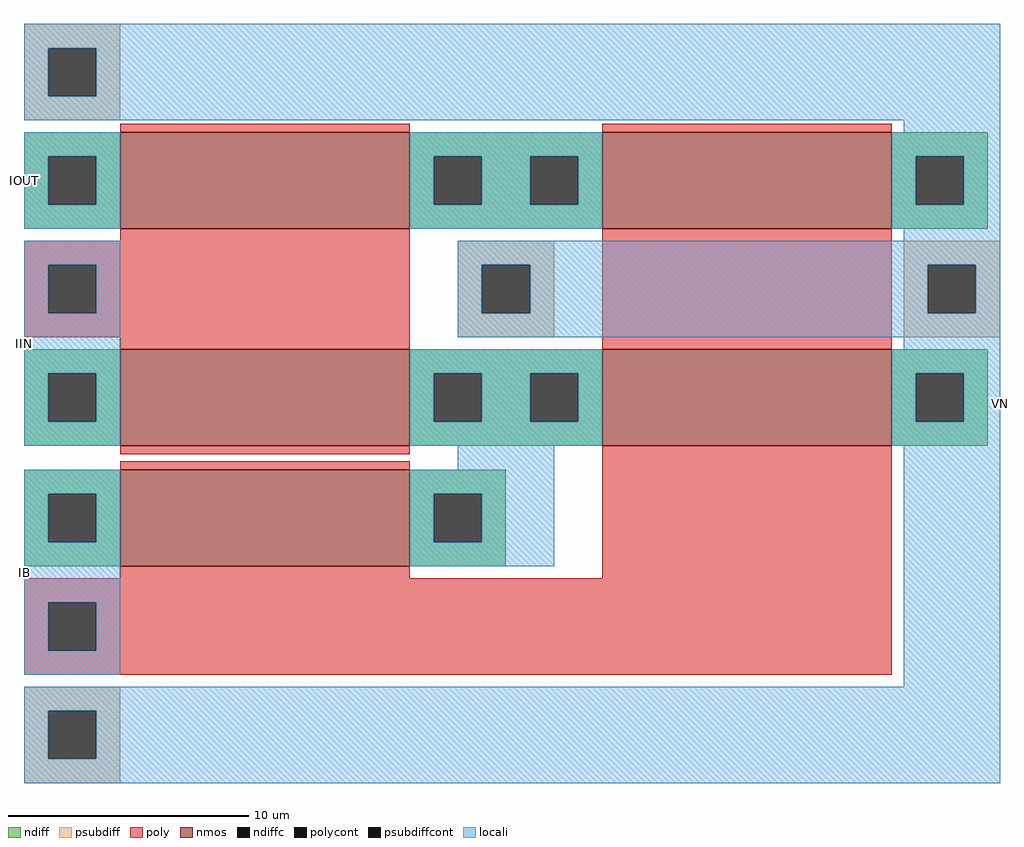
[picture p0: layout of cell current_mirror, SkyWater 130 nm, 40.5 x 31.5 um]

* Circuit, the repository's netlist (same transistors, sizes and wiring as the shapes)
* SPICE3 file created from current_mirror.ext - technology: sky130A

X0 VN IB a_35500_32800# VN sky130_fd_pr__nfet_01v8 ad=16 pd=16 as=16 ps=12 w=4 l=12
X1 a_35500_32800# IIN IOUT VN sky130_fd_pr__nfet_01v8 ad=16 pd=12 as=16 ps=16 w=4 l=12
X2 VN IB a_35500_30000# VN sky130_fd_pr__nfet_01v8 ad=16 pd=16 as=16 ps=12 w=4 l=12
X3 a_35500_30000# IIN IIN VN sky130_fd_pr__nfet_01v8 ad=16 pd=12 as=16 ps=16 w=4 l=12
X4 a_35500_30000# IB IB VN sky130_fd_pr__nfet_01v8 ad=16 pd=16 as=16 ps=16 w=4 l=12

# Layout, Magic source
magic
tech sky130A
<< nmos >>
rect 16550 16400 17750 16800
rect 18550 16400 19750 16800
rect 16550 15500 17750 15900
rect 18550 15500 19750 15900
rect 16550 15000 17750 15400
<< ndiff >>
rect 16150 16700 16550 16800
rect 16150 16500 16250 16700
rect 16450 16500 16550 16700
rect 16150 16400 16550 16500
rect 17750 16700 18550 16800
rect 17750 16500 17850 16700
rect 18050 16500 18250 16700
rect 18450 16500 18550 16700
rect 17750 16400 18550 16500
rect 19750 16700 20150 16800
rect 19750 16500 19850 16700
rect 20050 16500 20150 16700
rect 19750 16400 20150 16500
rect 16150 15800 16550 15900
rect 16150 15600 16250 15800
rect 16450 15600 16550 15800
rect 16150 15500 16550 15600
rect 17750 15800 18550 15900
rect 17750 15600 17850 15800
rect 18050 15600 18250 15800
rect 18450 15600 18550 15800
rect 17750 15500 18550 15600
rect 19750 15800 20150 15900
rect 19750 15600 19850 15800
rect 20050 15600 20150 15800
rect 19750 15500 20150 15600
rect 16150 15300 16550 15400
rect 16150 15100 16250 15300
rect 16450 15100 16550 15300
rect 16150 15000 16550 15100
rect 17750 15300 18150 15400
rect 17750 15100 17850 15300
rect 18050 15100 18150 15300
rect 17750 15000 18150 15100
<< ndiffc >>
rect 16250 16500 16450 16700
rect 17850 16500 18050 16700
rect 18250 16500 18450 16700
rect 19850 16500 20050 16700
rect 16250 15600 16450 15800
rect 17850 15600 18050 15800
rect 18250 15600 18450 15800
rect 19850 15600 20050 15800
rect 16250 15100 16450 15300
rect 17850 15100 18050 15300
<< psubdiff >>
rect 16150 17150 16550 17250
rect 16150 16950 16250 17150
rect 16450 16950 16550 17150
rect 16150 16850 16550 16950
rect 17950 16250 18350 16350
rect 17950 16050 18050 16250
rect 18250 16050 18350 16250
rect 17950 15950 18350 16050
rect 19800 16250 20200 16350
rect 19800 16050 19900 16250
rect 20100 16050 20200 16250
rect 19800 15950 20200 16050
rect 16150 14400 16550 14500
rect 16150 14200 16250 14400
rect 16450 14200 16550 14400
rect 16150 14100 16550 14200
<< psubdiffcont >>
rect 16250 16950 16450 17150
rect 18050 16050 18250 16250
rect 19900 16050 20100 16250
rect 16250 14200 16450 14400
<< poly >>
rect 16550 16800 17750 16835
rect 18550 16800 19750 16835
rect 16550 16350 17750 16400
rect 16150 16250 17750 16350
rect 16150 16050 16250 16250
rect 16450 16050 17750 16250
rect 16150 15950 17750 16050
rect 16550 15900 17750 15950
rect 18550 15900 19750 16400
rect 16550 15465 17750 15500
rect 16550 15400 17750 15435
rect 16550 14950 17750 15000
rect 18550 14950 19750 15500
rect 16150 14850 19750 14950
rect 16150 14650 16250 14850
rect 16450 14650 19750 14850
rect 16150 14550 19750 14650
<< polycont >>
rect 16250 16050 16450 16250
rect 16250 14650 16450 14850
<< locali >>
rect 16150 17150 20200 17250
rect 16150 16950 16250 17150
rect 16450 16950 20200 17150
rect 16150 16850 20200 16950
rect 19800 16800 20200 16850
rect 16150 16700 16550 16800
rect 16150 16500 16250 16700
rect 16450 16500 16550 16700
rect 16150 16400 16550 16500
rect 17750 16700 18550 16800
rect 17750 16500 17850 16700
rect 18050 16500 18250 16700
rect 18450 16500 18550 16700
rect 17750 16400 18550 16500
rect 19750 16700 20200 16800
rect 19750 16500 19850 16700
rect 20050 16500 20200 16700
rect 19750 16400 20200 16500
rect 19800 16350 20200 16400
rect 16150 16250 16550 16350
rect 16150 16050 16250 16250
rect 16450 16050 16550 16250
rect 16150 15800 16550 16050
rect 17950 16250 20200 16350
rect 17950 16050 18050 16250
rect 18250 16050 19900 16250
rect 20100 16050 20200 16250
rect 17950 15950 20200 16050
rect 19800 15900 20200 15950
rect 16150 15600 16250 15800
rect 16450 15600 16550 15800
rect 16150 15500 16550 15600
rect 17750 15800 18550 15900
rect 17750 15600 17850 15800
rect 18050 15600 18250 15800
rect 18450 15600 18550 15800
rect 17750 15500 18550 15600
rect 19750 15800 20200 15900
rect 19750 15600 19850 15800
rect 20050 15600 20200 15800
rect 19750 15500 20200 15600
rect 17950 15400 18350 15500
rect 16150 15300 16550 15400
rect 16150 15100 16250 15300
rect 16450 15100 16550 15300
rect 16150 14850 16550 15100
rect 17750 15300 18350 15400
rect 17750 15100 17850 15300
rect 18050 15100 18350 15300
rect 17750 15000 18350 15100
rect 16150 14650 16250 14850
rect 16450 14650 16550 14850
rect 16150 14550 16550 14650
rect 19800 14500 20200 15500
rect 16150 14400 20200 14500
rect 16150 14200 16250 14400
rect 16450 14200 20200 14400
rect 16150 14100 20200 14200
<< labels >>
rlabel locali 20200 14100 20200 17250 3 VN
port 1 e
rlabel locali 16150 14550 16150 15400 7 IB
port 2 w
rlabel locali 16150 15500 16150 16350 7 IIN
port 3 w
rlabel locali 16150 16400 16150 16800 7 IOUT
port 4 w
<< end >>
